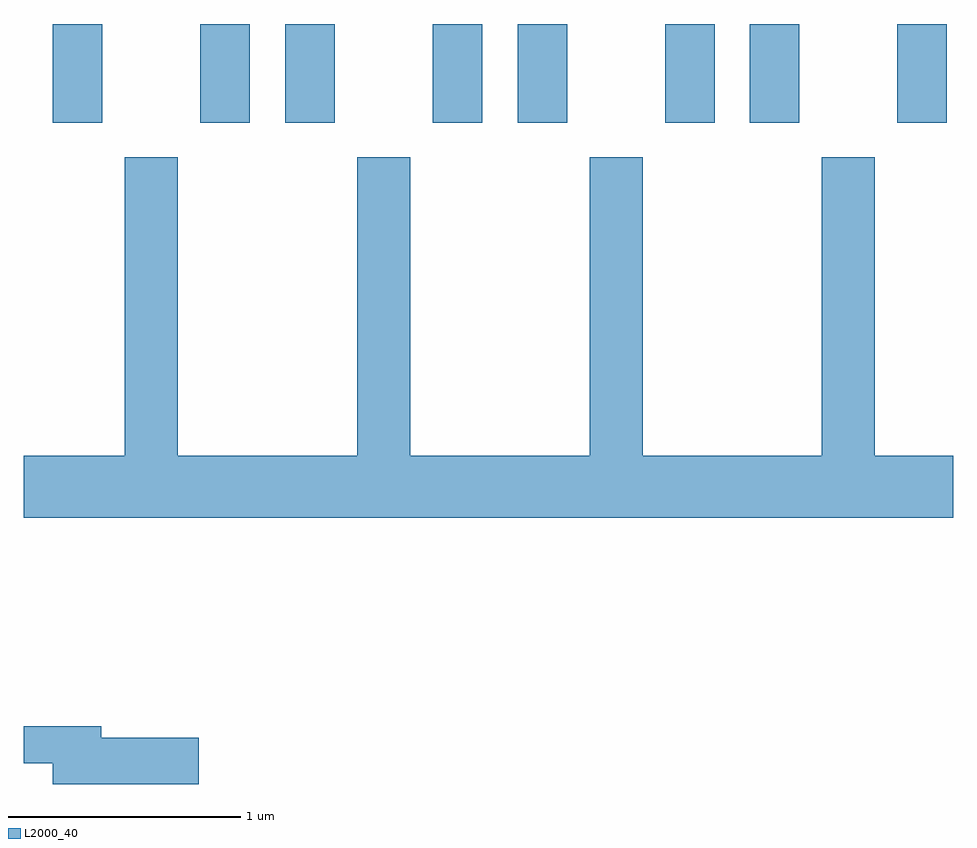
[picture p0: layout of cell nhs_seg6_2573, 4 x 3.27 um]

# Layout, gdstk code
import gdstk
lib = gdstk.Library(unit=1e-6, precision=1e-09)
def R(c, l, rs):  # rectangles x0, y0, x1, y1
    for r in rs: c.add(gdstk.rectangle(r[:2], r[2:], *l))
def P(c, l, *ps):  # polygons
    for p in ps: c.add(gdstk.Polygon(p, *l))
L2000_40 = (2000, 40)

nhs_seg6_2573 = lib.new_cell('nhs_seg6_2573')
R(nhs_seg6_2573, L2000_40, [(263.736,1551.736,263.949,1552.162), (264.371,1551.736,264.584,1552.162), (264.736,1551.736,264.949,1552.162), (265.371,1551.736,265.584,1552.162), (265.736,1551.736,265.949,1552.162), (266.371,1551.736,266.584,1552.162), (266.736,1551.736,266.949,1552.162), (267.371,1551.736,267.584,1552.162)])
P(nhs_seg6_2573, L2000_40, [(267.611,1550.304),(267.274,1550.304),(267.274,1551.589),(267.046,1551.589),(267.046,1550.304),(266.274,1550.304),(266.274,1551.589),(266.046,1551.589),(266.046,1550.304),(265.274,1550.304),(265.274,1551.589),(265.046,1551.589),(265.046,1550.304),(264.274,1550.304),(264.274,1551.589),(264.046,1551.589),(264.046,1550.304),(263.611,1550.304),(263.611,1550.036),(267.611,1550.036)],
  [(264.364,1549.089),(263.944,1549.089),(263.944,1549.139),(263.611,1549.139),(263.611,1548.981),(263.736,1548.981),(263.736,1548.891),(264.364,1548.891)])

lib.write_gds('nhs_seg6_2573.gds')
